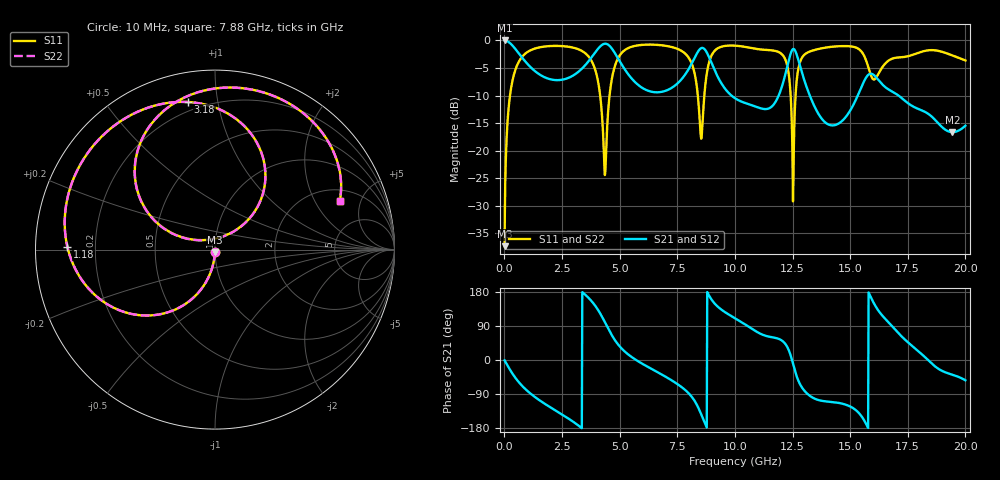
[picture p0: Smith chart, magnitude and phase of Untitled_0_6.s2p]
! TOUCHSTONE file generated by CST MICROWAVE STUDIO
! Date and time: Tue Oct 21 13:47:29 2025
! Project name: Untitled_0.cst
! Parameters = {E4_4=4.4; E4_3=0.85; E4_2=9.925; E4_1=10.075; E3_4=4.25; E3_3=0.85; E3_2=9.7; E3_1=10.3; E2_4=0.85; E2_3=-0.85; E2_2=11.85; E2_1=8.15; y=0.017; x=0; Tr6=-2; Tr5=2; Tr4=11; Tr3=2; Tr2=15; Tr1=-5; g3=3; g2=2; g1=0.15; E1_4=1; E1_3=-1; E1_2=12; E1_1=8; SP3_2_6=3.5; SP3_2_5=3.5; SP3_2_4=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
! Header version: 2018
! Port assignment regex: !\s*Touchstone port\s*([0-9]+)\s*=\s*(CST MWS port|CST DS port)\s*([0-9]+|Zmin|Zmax)\s*\(\"(.*)\"\)(\s*mode\s*([0-9]+))?.*
! Touchstone port assignment:
! Touchstone port 1 = CST MWS port 1 ("")
! Touchstone port 2 = CST MWS port 2 ("")
# GHz S DB R 50
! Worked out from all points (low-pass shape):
!   1004 points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, 10 MHz to 20 GHz, reference 50 ohm
!   highest |S21| = -0.01 dB at 10 MHz (marker M1); lowest = -16.7 dB at 19.44 GHz (marker M2)
!   |S21| within 3 dB of the highest: start of sweep to 747.4 MHz; 3.794 GHz to 4.895 GHz (1.101 GHz wide, 25.3 % of centre)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
!   lowest |S11| = -37.4 dB at 10 MHz (marker M3), VSWR 1.03, Z = 49.9 - j1.35 ohm
!   |S11| at or under -10 dB: start of sweep to 244.1 MHz; 4.155 GHz to 4.563 GHz (407.8 MHz wide, 9.35 % of centre); 8.392 GHz to 8.675 GHz (282.4 MHz wide, 3.31 % of centre)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
!   |S22| runs from -37.3 to -0.8 dB; largest |S21 - S12| = 0.00015
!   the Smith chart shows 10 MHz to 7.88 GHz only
!   S11 on the Smith chart (normalised r, x): 10 MHz: 1.00, -0.03; 1.18 GHz: 0.10, +0.01; 3.18 GHz: 0.15, +0.82; 7.88 GHz: 2.66, +3.26
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0.01  -37.35 -92.4  -0.01 -1.1  -0.01 -1.1  -37.29 -92.4
0.3  -8.44 -121.5  -0.71 -31.2  -0.71 -31.2  -8.44 -121.5
1.18  -1.70 178.9  -5.03 -90.9  -5.03 -90.9  -1.70 178.9
3.18  -1.56 100.4  -5.80 -171.4  -5.80 -171.4  -1.56 100.4
3.36  -1.90 92.4  -5.14 -180.0  -5.14 -180.0  -1.90 92.4
4  -6.22 54.9  -1.85 138.0  -1.85 138.0  -6.22 54.9
4.42  -19.32 150.6  -0.62 92.7  -0.62 92.7  -19.35 151.2
4.94  -3.16 128.5  -3.32 40.5  -3.32 40.5  -3.16 128.6
6.68  -0.82 60.2  -9.41 -33.3  -9.41 -33.3  -0.82 60.3
7.88  -2.54 21.3  -5.97 -81.1  -5.97 -81.1  -2.55 21.3
8.52  -17.37 27.0  -1.45 -140.5  -1.45 -140.5  -17.49 27.4
8.7  -8.79 89.5  -1.66 -167.2  -1.66 -167.2  -8.78 89.7
9.1  -1.99 60.4  -5.21 150.5  -5.21 150.6  -1.99 60.5
10.02  -0.95 24.9  -10.53 109.7  -10.53 109.7  -0.97 24.9
12.1  -2.80 -30.4  -7.55 48.4  -7.55 48.4  -2.82 -30.1
12.5  -21.32 -69.0  -1.65 -4.8  -1.65 -4.8  -21.10 -68.8
12.76  -4.99 37.7  -3.66 -55.5  -3.66 -55.5  -5.03 38.0
13.34  -1.88 2.8  -10.92 -98.1  -10.93 -98.1  -1.88 3.2
15.84  -5.57 -61.6  -6.10 173.0  -6.10 173.0  -5.63 -61.7
16.68  -3.62 -36.3  -8.94 98.5  -8.94 98.5  -3.62 -36.1
19.44  -2.73 -84.1  -16.65 -38.9  -16.65 -38.9  -2.76 -83.8
20  -3.63 -92.0  -15.49 -53.6  -15.49 -53.6  -3.65 -91.5
